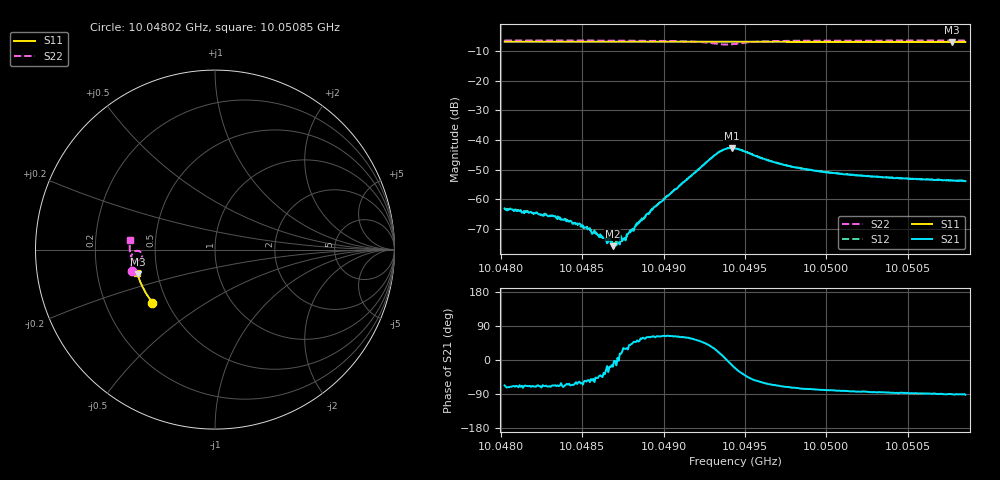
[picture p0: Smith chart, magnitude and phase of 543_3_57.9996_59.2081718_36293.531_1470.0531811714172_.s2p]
#  HZ  S  RI  R  50.00
! Rohde & Schwarz Vector Network Analyzer
! Rohde-Schwarz,ZNB20-2Port,1311601062101988,3.16
! Created: UTC 3/21/2024, 1:14:41 AM
! freq[Hz]  re:S11  im:S11  re:S21  im:S21  re:S12  im:S12  re:S22  im:S22
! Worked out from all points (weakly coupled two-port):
!   401 points, 10.04802 GHz to 10.05085 GHz, reference 50 ohm
!   highest |S21| = -42.62 dB at 10.04942 GHz (marker M1); lowest = -75.7 dB at 10.04869 GHz (marker M2)
!   lowest |S11| = -6.9 dB at 10.05077 GHz (marker M3), VSWR 2.65, Z = 19.3 - j6.64 ohm
!   |S11| at or under -10 dB: nowhere
!   |S22| runs from -7.8 to -6.4 dB; largest |S21 - S12| = 0.00054
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1.0048024e10  -0.3483 -0.2959  0.000277 -0.000651  0.000278 -0.000638  -0.4631 -0.1172
1.0048321e10  -0.3603 -0.2802  0.000208 -0.000492  0.000229 -0.000472  -0.4672 -0.0965
1.0048427e10  -0.3643 -0.2746  0.00017 -0.000402  0.000226 -0.000368  -0.4685 -0.0887
1.0048498e10  -0.367 -0.2708  0.000168 -0.000304  0.000207 -0.000296  -0.4691 -0.0835
1.004854e10  -0.3687 -0.2685  0.000195 -0.000258  0.000189 -0.000255  -0.4693 -0.0803
1.0048667e10  -0.3734 -0.2616  0.000209 -6.67e-05  0.000168 -0.000103  -0.4702 -0.0702
1.0048689e10  -0.3741 -0.2603  0.000155 -4.97e-05  0.000163 -3.5e-05  -0.4703 -0.0685
1.0048717e10  -0.3751 -0.2587  0.000183 1.76e-05  0.000181 2.31e-05  -0.4704 -0.0662
1.0048759e10  -0.3767 -0.2565  0.000194 0.000112  0.000191 9.25e-05  -0.4705 -0.0627
1.004883e10  -0.379 -0.2524  0.000243 0.000266  0.000238 0.000296  -0.4704 -0.0563
1.0048972e10  -0.384 -0.2445  0.000403 0.000761  0.000349 0.000795  -0.4691 -0.0426
1.0049184e10  -0.3908 -0.2322  0.00154 0.00223  0.00141 0.00231  -0.4568 -0.0166
1.0049318e10  -0.3946 -0.2244  0.00502 0.00265  0.00489 0.00297  -0.4231 -0.00885
1.0049368e10  -0.396 -0.2217  0.00681 0.00106  0.00676 0.00147  -0.4081 -0.0234
1.0049417e10  -0.3975 -0.2191  0.00721 -0.00165  0.00735 -0.00112  -0.4085 -0.0463
1.0049439e10  -0.3979 -0.2179  0.00677 -0.00263  0.007 -0.00217  -0.4139 -0.0541
1.0049693e10  -0.406 -0.2032  0.00159 -0.0038  0.00185 -0.00376  -0.4661 -0.0418
1.0049913e10  -0.4119 -0.1901  0.000692 -0.00302  0.000844 -0.00302  -0.4733 -0.0186
1.0050097e10  -0.4167 -0.179  0.000412 -0.00268  0.000568 -0.00264  -0.4752 -0.00253
1.0050387e10  -0.4233 -0.161  0.00016 -0.00231  0.000311 -0.00233  -0.4753 0.0198
1.0050769e10  -0.4309 -0.1372  2.33e-06 -0.0021  0.00012 -0.0021  -0.4736 0.047
1.0050854e10  -0.4326 -0.1319  -5.97e-05 -0.00203  8.48e-05 -0.00207  -0.4729 0.0529
